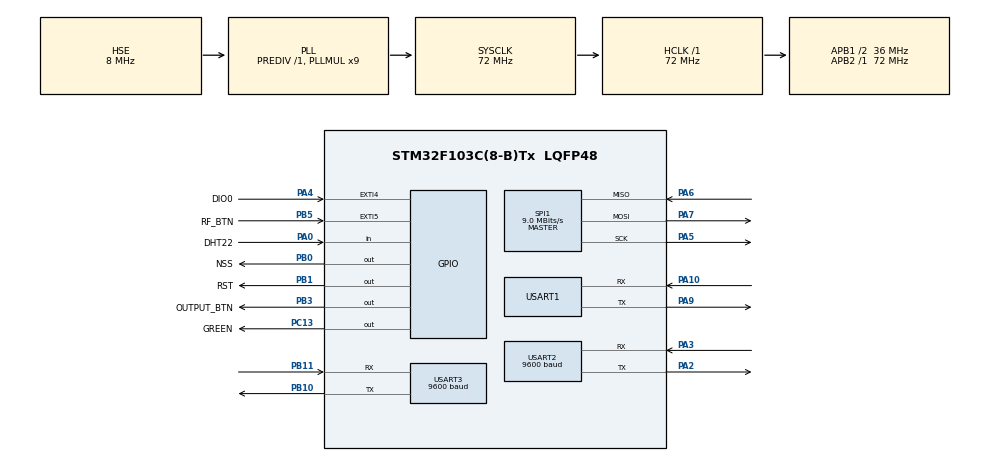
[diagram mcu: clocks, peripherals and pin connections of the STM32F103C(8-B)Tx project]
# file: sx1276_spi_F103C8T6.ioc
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FREERTOS.Tasks01=LED,0,128,LEDTask,Default,NULL,Dynamic,NULL,NULL;myTask02,-3,128,StartTask02,Default,NULL,Dynamic,NULL,NULL;myTask03,-3,128,StartTask03,Default,NULL,Dynamic,NULL,NULL
FREERTOS.configTOTAL_HEAP_SIZE=14*1024
FREERTOS.configUSE_NEWLIB_REENTRANT=1
Mcu.Family=STM32F1
Mcu.Name=STM32F103C(8-B)Tx
Mcu.Package=LQFP48
NVIC.EXTI4_IRQn=true\:5\:0\:false\:false\:true\:true\:true\:true\:true
NVIC.EXTI9_5_IRQn=true\:5\:0\:false\:false\:true\:true\:true\:true\:true
NVIC.PriorityGroup=NVIC_PRIORITYGROUP_4
NVIC.TIM1_UP_IRQn=true\:5\:0\:false\:false\:true\:true\:true\:true\:true
NVIC.TIM3_IRQn=true\:15\:0\:false\:false\:true\:false\:false\:true\:true
NVIC.TimeBase=TIM3_IRQn
NVIC.TimeBaseIP=TIM3
NVIC.USART2_IRQn=true\:5\:0\:false\:false\:true\:true\:true\:true\:true
NVIC.USART3_IRQn=true\:5\:0\:false\:false\:true\:true\:true\:true\:true
PA0-WKUP.GPIO_Label=DHT22
PA0-WKUP.Signal=GPIO_Input
PA10.Mode=Asynchronous
PA10.Signal=USART1_RX
PA13.Mode=Serial_Wire
PA13.Signal=SYS_JTMS-SWDIO
PA14.Mode=Serial_Wire
PA14.Signal=SYS_JTCK-SWCLK
PA2.Mode=Asynchronous
PA2.Signal=USART2_TX
PA3.Mode=Asynchronous
PA3.Signal=USART2_RX
PA4.GPIO_Label=DIO0
PA4.Signal=GPXTI4
PA5.Mode=Full_Duplex_Master
PA5.Signal=SPI1_SCK
PA6.Mode=Full_Duplex_Master
PA6.Signal=SPI1_MISO
PA7.Mode=Full_Duplex_Master
PA7.Signal=SPI1_MOSI
PA9.Mode=Asynchronous
PA9.Signal=USART1_TX
PB0.GPIO_Label=NSS
PB0.PinState=GPIO_PIN_SET
PB0.Signal=GPIO_Output
PB1.GPIO_Label=RST
PB1.PinState=GPIO_PIN_SET
PB1.Signal=GPIO_Output
PB10.Mode=Asynchronous
PB10.Signal=USART3_TX
PB11.Mode=Asynchronous
PB11.Signal=USART3_RX
PB3.GPIO_Label=OUTPUT_BTN
PB3.Signal=GPIO_Output
PB5.GPIO_Label=RF_BTN
PB5.GPIO_ModeDefaultEXTI=GPIO_MODE_IT_FALLING
PB5.GPIO_PuPd=GPIO_PULLUP
PB5.Signal=GPXTI5
PC13-TAMPER-RTC.GPIO_Label=GREEN
PC13-TAMPER-RTC.Signal=GPIO_Output
PC14-OSC32_IN.Mode=LSE-External-Oscillator
PC14-OSC32_IN.Signal=RCC_OSC32_IN
PC15-OSC32_OUT.Mode=LSE-External-Oscillator
PC15-OSC32_OUT.Signal=RCC_OSC32_OUT
PD0-OSC_IN.Mode=HSE-External-Oscillator
PD0-OSC_IN.Signal=RCC_OSC_IN
PD1-OSC_OUT.Mode=HSE-External-Oscillator
PD1-OSC_OUT.Signal=RCC_OSC_OUT
ProjectManager.HeapSize=0x200
ProjectManager.StackSize=0x400
ProjectManager.TargetToolchain=STM32CubeIDE
RCC.AHBFreq_Value=72000000
RCC.APB1CLKDivider=RCC_HCLK_DIV2
RCC.APB1Freq_Value=36000000
RCC.APB1TimFreq_Value=72000000
RCC.APB2Freq_Value=72000000
RCC.APB2TimFreq_Value=72000000
RCC.HCLKFreq_Value=72000000
RCC.PLLMUL=RCC_PLL_MUL9
RCC.PLLSourceVirtual=RCC_PLLSOURCE_HSE
RCC.SYSCLKFreq_VALUE=72000000
RCC.SYSCLKSource=RCC_SYSCLKSOURCE_PLLCLK
RCC.USBFreq_Value=72000000
SPI1.BaudRatePrescaler=SPI_BAUDRATEPRESCALER_8
SPI1.CalculateBaudRate=9.0 MBits/s
SPI1.Direction=SPI_DIRECTION_2LINES
SPI1.Mode=SPI_MODE_MASTER
SPI1.VirtualType=VM_MASTER
TIM1.Period=8000-1
TIM1.Prescaler=36000-1
TIM1.TIM_MasterOutputTrigger=TIM_TRGO_UPDATE
TIM4.Period=0xffff-1
TIM4.Prescaler=72-1
USART1.VirtualMode=VM_ASYNC
USART2.BaudRate=9600
USART2.VirtualMode=VM_ASYNC
USART3.BaudRate=9600
USART3.VirtualMode=VM_ASYNC
VP_FREERTOS_VS_CMSIS_V1.Mode=CMSIS_V1
VP_SYS_VS_tim3.Mode=TIM3
VP_TIM1_VS_ClockSourceINT.Mode=Internal
VP_TIM4_VS_ClockSourceINT.Mode=Internal
board=custom

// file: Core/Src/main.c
/* USER CODE BEGIN Header */
/**
  ******************************************************************************
  * @file           : main.c
  * @brief          : Main program body
  ******************************************************************************
  * @attention
  *
  * Copyright (c) 2023 STMicroelectronics.
  * All rights reserved.
  *
  * This software is licensed under terms that can be found in the LICENSE file
  * in the root directory of this software component.
  * If no LICENSE file comes with this software, it is provided AS-IS.
  *
  ******************************************************************************
  */
/* USER CODE END Header */
#include "main.h"
#include "cmsis_os.h"

/* USER CODE BEGIN Includes */
#include <string.h>
#include <stdio.h>
#include "LoRa.h"
#include "DHT22.h"
#include "NMEA.h"
#include "uartRingBuffer.h"

#include "FreeRTOS.h"
#include "task.h"
#include "timers.h"
#include "queue.h"
#include "semphr.h"
/* USER CODE END Includes */

/* USER CODE BEGIN PD */
#define SET_FREQUENCY 	0
#define GET_FREQUENCY 	1
#define SET_BANDWIDTH	2
#define GET_BANDWIDTH 	3
#define SET_PCKT_STR 	4
#define GET_PCKT_STR 	5
#define GET_TEMP 		6
#define GET_RH		 	7
#define GET_LOCATION	8
#define GET_TIME		9
#define UNKNOWN			255
/* USER CODE END PD */

SPI_HandleTypeDef hspi1;

TIM_HandleTypeDef htim1;
TIM_HandleTypeDef htim4;

UART_HandleTypeDef huart1;
UART_HandleTypeDef huart2;
UART_HandleTypeDef huart3;

osThreadId LEDHandle;
osThreadId myTask02Handle;
osThreadId myTask03Handle;
/* USER CODE BEGIN PV */
TaskHandle_t processCmdTaskHandler = NULL;
TaskHandle_t rxCmdTaskHandler = NULL;
QueueHandle_t cmdQueue;
QueueHandle_t rxcmdQueue;
xSemaphoreHandle DHT_Sem;
xSemaphoreHandle LoRa_Sem;
//--------LoRa--------
LoRa myLoRa;
uint16_t LoRa_stat;
uint8_t TxBuffer[24];
char message[50];
char pckt_str[50];
char pckt_buffer[2];

//-------Environment--------
float Temperature = 0;
float Humidity = 0;

//--------GPSR--------
char GGA[100];
char RMC[100];
GPSSTRUCT gpsData;
char lcdBuffer[50];
int VCCTimeout;
int flagGGA, flagRMC; // if you set this variable (1->0 and 2->1), it will crash.
float fix_latitude, fix_longitude;
float lat_afterPoint, lon_afterPoint;

//------BlueTooth------
typedef struct
{
	uint32_t temp;
	uint16_t cmd;
	uint32_t param;
}rxCmd;
uint8_t rx_data, flag;
rxCmd myrxCmd;

//------RTC------
//RTC_TimeTypeDef gTime;
//RTC_DateTypeDef gDate;

/* USER CODE END PV */

void SystemClock_Config(void);
static void MX_GPIO_Init(void);
static void MX_SPI1_Init(void);
static void MX_USART1_UART_Init(void);
static void MX_TIM1_Init(void);
static void MX_TIM4_Init(void);
static void MX_USART2_UART_Init(void);
static void MX_USART3_UART_Init(void);
void LEDTask(void const * argument);
void StartTask02(void const * argument);
void StartTask03(void const * argument);

/* USER CODE BEGIN 0 */
void float2Bytes(float val,uint8_t* bytes_array);
void menuDisplay();
void LORA_Task(void* pvParameter);
void DHT22_Task(void* pvParameter);
void GPSR_Task(void* pvParameter);
void BLE_Task(void* pvParameter);
void processCmdTask(void* pvParameter);
void rxCmdTask(void* pvParameter);

void HAL_UART_RxCpltCallback(UART_HandleTypeDef* huart)
{
	if(huart->Instance == USART3)
	{
		switch(rx_data)
		{
		case ' ':
			myrxCmd.cmd = myrxCmd.temp;
			myrxCmd.temp = 0;
			flag = 1;
			break;
		case '\n':
			if(flag)
				myrxCmd.param = myrxCmd.temp;
			else
				myrxCmd.cmd = myrxCmd.temp;
			myrxCmd.temp = 0;
			flag = 0;
			BaseType_t xHigherPriorityTaskWoken = pdFALSE;
			// notify cmd handling tasks
			xQueueSendFromISR(rxcmdQueue, &myrxCmd, &xHigherPriorityTaskWoken);
			break;
		default:
			myrxCmd.temp=10*myrxCmd.temp + rx_data - 0x30;
		}

	}

}

void HAL_GPIO_EXTI_Callback(uint16_t GPIO_Pin)
{
  if(GPIO_Pin==RF_BTN_Pin)
  {
		for(int i = 0;i<3;i++){ delay(60000);}

		if(HAL_GPIO_ReadPin(RF_BTN_GPIO_Port, RF_BTN_Pin) == GPIO_PIN_RESET){
			HAL_GPIO_WritePin(OUTPUT_BTN_GPIO_Port, OUTPUT_BTN_Pin, GPIO_PIN_SET);
			sprintf(message, "Button Interrupt\r\n");
			HAL_UART_Transmit(&huart1, (uint8_t*)message, strlen(message), 0xffff);
			memset(message, '\0', strlen((char*)message));
			BaseType_t xHigherPriorityTaskWoken = pdFALSE;
			xSemaphoreGiveFromISR (LoRa_Sem, &xHigherPriorityTaskWoken);
			portEND_SWITCHING_ISR(xHigherPriorityTaskWoken);
		}

  }

}

void rxCmdTask(void* pvParameter)
{
	char *info;
	rxCmd currentCmd;
	while(1)
	{
		// block until notification
		if(xQueueReceive(rxcmdQueue, &currentCmd, portMAX_DELAY ) == pdPASS){
			// critical section
			taskENTER_CRITICAL();

			// get command code
			switch(currentCmd.cmd)
			{
			case SET_FREQUENCY:
				info = pvPortMalloc(100*sizeof(char));
				sprintf(info, "Set SX-1276 frequency: %d\r\n", (int)currentCmd.param);
				HAL_UART_Transmit(&huart3, (uint8_t *)info, strlen(info), 0xffff);
				vPortFree(info);
				myLoRa.frequency = currentCmd.param;
				LoRa_setFrequency(&myLoRa, myLoRa.frequency);
				break;
			case GET_FREQUENCY:
				info = pvPortMalloc(100*sizeof(char));
				sprintf(info, "Get current frequency: %d\r\n", myLoRa.frequency);
				HAL_UART_Transmit(&huart3, (uint8_t *)info, strlen(info), 0xffff);
				vPortFree(info);
				break;
			case SET_BANDWIDTH:
				break;
			case GET_BANDWIDTH:
				info = pvPortMalloc(100*sizeof(char));
				sprintf(info, "Get current bandwidth: %d\r\n", myLoRa.bandWidth);
				HAL_UART_Transmit(&huart3, (uint8_t *)info, strlen(info), 0xffff);
				vPortFree(info);
				break;
			case SET_PCKT_STR:
				break;
			case GET_PCKT_STR:
				break;
			case GET_TEMP:
				info = pvPortMalloc(100*sizeof(char));
				sprintf(info, "Get temperature (celsius): %f C\r\n", Temperature);
				HAL_UART_Transmit(&huart3, (uint8_t *)info, strlen(info), 0xffff);
				vPortFree(info);
				break;
			case GET_RH:
				info = pvPortMalloc(100*sizeof(char));
				sprintf(info, "Get humidity (%%): %f %% \r\n", Humidity);
				HAL_UART_Transmit(&huart3, (uint8_t *)info, strlen(info), 0xffff);
				vPortFree(info);
				break;
			default:
				menuDisplay();
			}

			// re-enable interrupts
			taskEXIT_CRITICAL();
		}
	}
}

void menuDisplay()
{
	HAL_UART_Transmit(&huart3, (uint8_t *)"==== CMD_HELPER ====\r\n", 40, 0xffff);
	HAL_UART_Transmit(&huart3, (uint8_t *)"Set frequency (kHz)--------> 0\r\n", 40, 0xffff);
	HAL_UART_Transmit(&huart3, (uint8_t *)"Get frequency (kHz)--------> 1\r\n", 40, 0xffff);
	HAL_UART_Transmit(&huart3, (uint8_t *)"Set bandwidth (kHz)--------> 2\r\n", 40, 0xffff);
	HAL_UART_Transmit(&huart3, (uint8_t *)"Get bandwidth (kHz)--------> 3\r\n", 40, 0xffff);
	HAL_UART_Transmit(&huart3, (uint8_t *)"Set string content (str)---> 4\r\n", 40, 0xffff);
	HAL_UART_Transmit(&huart3, (uint8_t *)"Get current content (HEX)--> 5\r\n", 40, 0xffff);
	HAL_UART_Transmit(&huart3, (uint8_t *)"Get temperature (celsius)--> 6\r\n", 40, 0xffff);
	HAL_UART_Transmit(&huart3, (uint8_t *)"Get humidity (%%)-----------> 7\r\n", 40, 0xffff);
	HAL_UART_Transmit(&huart3, (uint8_t *)"Get location (lat, lon)----> 8\r\n", 40, 0xffff);
	HAL_UART_Transmit(&huart3, (uint8_t *)"Get time (MM/DD/YYYY)------> 9\r\n", 40, 0xffff);
}

void float2Bytes(float val,uint8_t* bytes_array){
  // Create union of shared memory space
  union {
    float float_variable;
    uint8_t temp_array[4];
  } u;
  // Overwrite bytes of union with float variable
  u.float_variable = val;
  // Assign bytes to input array
  memcpy(bytes_array, u.temp_array, 4);
}

void LORA_Task(void* pvParameter){

	while(1){
		if(xSemaphoreTake(LoRa_Sem, 9700) != pdTRUE){
			char *info = pvPortMalloc(50*sizeof(char));
			sprintf(info, "Unable to acquire LoRa semaphore !!!\r\n");
			HAL_UART_Transmit(&huart1, (uint8_t*)info, strlen(info), 0xffff);
			vPortFree(info);
		}
		else{
			char *info = pvPortMalloc(50*sizeof(char));
			sprintf(info, "Button push\r\n");
			HAL_UART_Transmit(&huart1, (uint8_t*)info, strlen(info), 0xffff);
			vPortFree(info);
//			TxBuffer[0] = 0x02; // mobile mode
//			TxBuffer[1] = 0x01; // ID
//			TxBuffer[2] = 0x21; // Data Type:

//			TxBuffer[3] = 0x00;	// 3-6 Time
//			TxBuffer[4] = gTime.Hours;
//			TxBuffer[5] = gTime.Minutes;
//			TxBuffer[6] = gTime.Seconds;
//			float2Bytes(Temperature, &TxBuffer[7]); // 7-14 Sensor Data
//			float2Bytes(Humidity, &TxBuffer[11]);
//			float2Bytes(fix_latitude, &TxBuffer[15]); // 15-22 GPS position Data
//			float2Bytes(fix_longitude, &TxBuffer[19]);

//			TxBuffer[23] = 0x00;// 23 Checksum
//			for(int i = 0;i < 23; i++){
//				TxBuffer[23] = TxBuffer[23] + TxBuffer[i];
//			}

			// make packet string, fail to make the string to show. I think the reason is
			// that strcat function is not compatible to FreeRTOS or HAL_UART..
	//		memset(pckt_str, NULL, strlen(pckt_str));
	//		for(int i = 0;i < 24; i++)
	//		{
	//			if (TxBuffer[i] < 16) strcat(pckt_str, "0");
	//			strcat(pckt_str, itoa(TxBuffer[i], pckt_buffer, 16));
	//			strcat(pckt_str, " ");
	//		}
			sprintf((char*)TxBuffer, "HelloHelloHello");
			HAL_GPIO_WritePin(GREEN_GPIO_Port, GREEN_Pin, GPIO_PIN_RESET);	//PC13 High
			LoRa_transmit(&myLoRa, TxBuffer, 24, 2500);
			info = pvPortMalloc(100*sizeof(char));
			sprintf(info, "Packet size: %d ,Send packet.. \r\n", sizeof(TxBuffer)/sizeof(TxBuffer[0]));
			HAL_UART_Transmit(&huart1, (uint8_t *)info, strlen(info), 0xffff);
			vPortFree(info);
			HAL_GPIO_WritePin(GREEN_GPIO_Port, GREEN_Pin, GPIO_PIN_SET);	//PC13 Low

//			HAL_RTC_GetTime(&hrtc, &gTime, RTC_FORMAT_BIN);
//			HAL_RTC_GetDate(&hrtc, &gDate, RTC_FORMAT_BIN);
//
//			info = pvPortMalloc(50*sizeof(char));
//			sprintf(info,"RTC time: %02d:%02d:%02d \r\n", gTime.Hours, gTime.Minutes, gTime.Seconds);
//			HAL_UART_Transmit(&huart1, (uint8_t *)info, strlen(info), 0xffff);
//			vPortFree(info);
//
//			info = pvPortMalloc(50*sizeof(char));
//			sprintf(info,"RTC date: %02d-%02d-%04d \r\n", gDate.Month, gDate.Date, 2000+gDate.Year);
//			HAL_UART_Transmit(&huart1, (uint8_t *)info, strlen(info), 0xffff);
//			vPortFree(info);

			vTaskDelay(500);
			HAL_GPIO_WritePin(OUTPUT_BTN_GPIO_Port, OUTPUT_BTN_Pin, GPIO_PIN_RESET);
		}

	}
}
void DHT22_Task(void* pvParameter){
	int index = 1;
	while(1){
		if(xSemaphoreTake(DHT_Sem, 4500) != pdTRUE){
			HAL_UART_Transmit(&huart1, (uint8_t*)"Unable to acquire DHT semaphore\r\n", 35, 100);
		}
		else{
			if(DHT22_Get_Data(&Temperature, &Humidity) == 1){
				char *info = pvPortMalloc(50*sizeof(char));
				sprintf (info, "%d. Temp = %.2f C\t RH = %.2f%% \r\n",index++, Temperature, Humidity);
				HAL_UART_Transmit(&huart1, (uint8_t *)info, strlen(info), 0xffff);
				vPortFree(info);
			}
		}
	}
}

void GPSR_Task(void* pvParameter){
	while(1){
		if (Wait_for("GGA") == 1){

			VCCTimeout = 5000; // Reset the VCC Timeout indicating the GGA is being received

			Copy_upto("*", GGA);
			if(decodeGGA(GGA, &gpsData.ggastruct) == 0) flagGGA = 2; // 2 indicates the data is valid
			else flagGGA = 1;
		}
		if (Wait_for("RMC") == 1){

			VCCTimeout = 5000; // Reset the VCC Timeout indicating the RMC is being received

			Copy_upto("*", RMC);
			if(decodeRMC(RMC, &gpsData.rmcstruct) == 0) flagRMC = 2; // 2 indicates the data is valid
			else flagRMC = 1;
		}
		if ((flagGGA = 2) | (flagRMC = 2)){
			// print the time format
			sprintf(lcdBuffer, "%02d:%02d:%02d, %02d-%02d-%04d\r\n", gpsData.ggastruct.tim.hour, \
				  gpsData.ggastruct.tim.min, gpsData.ggastruct.tim.sec, gpsData.rmcstruct.date.Mon, \
				  gpsData.rmcstruct.date.Day, 2000 + gpsData.rmcstruct.date.Yr);
			HAL_UART_Transmit(&huart1, (uint8_t *)lcdBuffer, strlen(lcdBuffer), 0xffff);
			memset(lcdBuffer, '\0', strlen(lcdBuffer));
			// Convert to google map format
			lat_afterPoint = gpsData.ggastruct.lcation.latitude - (int)(gpsData.ggastruct.lcation.latitude);
			fix_latitude = (int)(gpsData.ggastruct.lcation.latitude) + lat_afterPoint/60*100;
			lon_afterPoint = gpsData.ggastruct.lcation.longitude - (int)(gpsData.ggastruct.lcation.longitude);
			fix_longitude = (int)(gpsData.ggastruct.lcation.longitude) + lon_afterPoint/60*100;
			// print the location format
			sprintf(lcdBuffer, "LAT: %.4f%c, LON: %.4f%c\r\n", fix_latitude, \
				  gpsData.ggastruct.lcation.NS, fix_longitude, gpsData.ggastruct.lcation.EW);
			HAL_UART_Transmit(&huart1, (uint8_t *)lcdBuffer, strlen(lcdBuffer), 0xffff);
			memset(lcdBuffer, '\0', strlen(lcdBuffer));
			// Correct the RTC time
		}
		else if((flagGGA = 1) | (flagRMC = 1)){
			HAL_UART_Transmit(&huart1, (uint8_t *)"NO FIX YET !!\r\n", 20, 0xffff);
		}
		if (VCCTimeout <= 0){
			VCCTimeout = 5000;  // Reset the timeout

			//reset flags
			flagGGA =flagRMC =0;

			// You are here means the VCC is less, or maybe there is some connection issue
			// Check the VCC, also you can try connecting to the external 5V
			HAL_UART_Transmit(&huart1, (uint8_t *)"VCC Issue, Check Connection\r\n", 20, 0xffff);
		}
		vTaskDelay(4000);
	}
}

/* USER CODE END 0 */

int main(void)
{

  /* MCU Configuration--------------------------------------------------------*/

  /* Reset of all peripherals, Initializes the Flash interface and the Systick. */
  HAL_Init();

  /* Configure the system clock */
  SystemClock_Config();

  /* Initialize all configured peripherals */
  MX_GPIO_Init();
  MX_SPI1_Init();
  MX_USART1_UART_Init();
  MX_TIM1_Init();
  MX_TIM4_Init();
  MX_USART2_UART_Init();
  MX_USART3_UART_Init();
  /* USER CODE BEGIN 2 */
	// --LoRa initialization--
	myLoRa = newLoRa();

	myLoRa.CS_port         = NSS_GPIO_Port;
	myLoRa.CS_pin          = NSS_Pin;
	myLoRa.reset_port      = RST_GPIO_Port;
	myLoRa.reset_pin       = RST_Pin;
	myLoRa.DIO0_port       = DIO0_GPIO_Port;
	myLoRa.DIO0_pin        = DIO0_Pin;
	myLoRa.hSPIx           = &hspi1;

	myLoRa.frequency             = 923400;          // default = 433 MHz
	myLoRa.spredingFactor        = SF_10;           	// default = SF_7
	myLoRa.bandWidth             = BW_125KHz;       // default = BW_125KHz
	myLoRa.crcRate               = CR_4_5;          // default = CR_4_5
	myLoRa.power                 = POWER_20db;      // default = 20db
	myLoRa.overCurrentProtection = 130;             // default = 100 mA
	//myLoRa.preamble = 10;

	uint16_t LoRa_status = LoRa_init(&myLoRa);
	sprintf(message, "LoRa initialization ..");
	HAL_UART_Transmit(&huart1, (uint8_t *)message, strlen(message), 0xffff);
	memset(message, '\0', strlen(message));
	if(LoRa_status == LORA_OK){
	  sprintf(message, " success !\r\n");
	  HAL_UART_Transmit(&huart1, (uint8_t *)message, strlen(message), 0xffff);
	  memset(message, '\0', strlen(message));
	}

	LoRa_setSyncWord(&myLoRa, 0x34); // default: 0x12

	// --DS1307 initialization--
//	if(ds1307_init(&hi2c1)){
//		sprintf(message, "DS1307 initialization .. fail !\r\n");
//		HAL_UART_Transmit(&huart1, (uint8_t *)message, strlen(message), 0xffff);
//		memset(message, NULL, strlen(message));
//		while(1);
//	}
//	sprintf(message, "DS1307 initialization .. success !\r\n");
//	HAL_UART_Transmit(&huart1, (uint8_t *)message, strlen(message), 0xffff);
//	memset(message, NULL, strlen(message));
//	mytime.seconds = 0;
//	mytime.minutes = 0;
//	mytime.hours = 0;
//	ds1307_set_current_time(&mytime);

	// --GPSR--
	Ringbuf_init();

	DHT_Sem = xSemaphoreCreateBinary();
	LoRa_Sem = xSemaphoreCreateBinary();

	cmdQueue = xQueueCreate(5, sizeof(uint8_t));
	rxcmdQueue = xQueueCreate(5, sizeof(rxCmd));

	xTaskCreate(LORA_Task, "LORA", 1024, NULL, 2, NULL);
	xTaskCreate(DHT22_Task, "DHT22", 256, NULL, 3, NULL);
	xTaskCreate(GPSR_Task, "GPSR", 256, NULL, 2, NULL);
	xTaskCreate(rxCmdTask, "RX", 1024, NULL, 4, &rxCmdTaskHandler);

	HAL_TIM_Base_Start(&htim4);
	HAL_TIM_Base_Start_IT(&htim1);

	__HAL_UART_ENABLE_IT(&huart3,UART_IT_RXNE);
//	HAL_UART_Receive_IT(&huart3, &rx_data, 1);

	vTaskStartScheduler();
  /* USER CODE END 2 */

  /* Create the thread(s) */
  /* definition and creation of LED */

  /* We should never get here as control is now taken by the scheduler */
  /* Infinite loop */
  while (1)
  {

  }
}

void SystemClock_Config(void)
{
  RCC_OscInitTypeDef RCC_OscInitStruct = {0};
  RCC_ClkInitTypeDef RCC_ClkInitStruct = {0};

  /** Initializes the RCC Oscillators according to the specified parameters
  * in the RCC_OscInitTypeDef structure.
  */
  RCC_OscInitStruct.OscillatorType = RCC_OSCILLATORTYPE_HSE;
  RCC_OscInitStruct.HSEState = RCC_HSE_ON;
  RCC_OscInitStruct.HSEPredivValue = RCC_HSE_PREDIV_DIV1;
  RCC_OscInitStruct.HSIState = RCC_HSI_ON;
  RCC_OscInitStruct.PLL.PLLState = RCC_PLL_ON;
  RCC_OscInitStruct.PLL.PLLSource = RCC_PLLSOURCE_HSE;
  RCC_OscInitStruct.PLL.PLLMUL = RCC_PLL_MUL9;
  if (HAL_RCC_OscConfig(&RCC_OscInitStruct) != HAL_OK)
  {
    Error_Handler();
  }

  /** Initializes the CPU, AHB and APB buses clocks
  */
  RCC_ClkInitStruct.ClockType = RCC_CLOCKTYPE_HCLK|RCC_CLOCKTYPE_SYSCLK
                              |RCC_CLOCKTYPE_PCLK1|RCC_CLOCKTYPE_PCLK2;
  RCC_ClkInitStruct.SYSCLKSource = RCC_SYSCLKSOURCE_PLLCLK;
  RCC_ClkInitStruct.AHBCLKDivider = RCC_SYSCLK_DIV1;
  RCC_ClkInitStruct.APB1CLKDivider = RCC_HCLK_DIV2;
  RCC_ClkInitStruct.APB2CLKDivider = RCC_HCLK_DIV1;

  if (HAL_RCC_ClockConfig(&RCC_ClkInitStruct, FLASH_LATENCY_2) != HAL_OK)
  {
    Error_Handler();
  }
}

static void MX_SPI1_Init(void)
{

  /* SPI1 parameter configuration*/
  hspi1.Instance = SPI1;
  hspi1.Init.Mode = SPI_MODE_MASTER;
  hspi1.Init.Direction = SPI_DIRECTION_2LINES;
  hspi1.Init.DataSize = SPI_DATASIZE_8BIT;
  hspi1.Init.CLKPolarity = SPI_POLARITY_LOW;
  hspi1.Init.CLKPhase = SPI_PHASE_1EDGE;
  hspi1.Init.NSS = SPI_NSS_SOFT;
  hspi1.Init.BaudRatePrescaler = SPI_BAUDRATEPRESCALER_8;
  hspi1.Init.FirstBit = SPI_FIRSTBIT_MSB;
  hspi1.Init.TIMode = SPI_TIMODE_DISABLE;
  hspi1.Init.CRCCalculation = SPI_CRCCALCULATION_DISABLE;
  hspi1.Init.CRCPolynomial = 10;
  if (HAL_SPI_Init(&hspi1) != HAL_OK)
  {
    Error_Handler();
  }

}

static void MX_TIM1_Init(void)
{

  TIM_ClockConfigTypeDef sClockSourceConfig = {0};
  TIM_MasterConfigTypeDef sMasterConfig = {0};

  htim1.Instance = TIM1;
  htim1.Init.Prescaler = 36000-1;
  htim1.Init.CounterMode = TIM_COUNTERMODE_UP;
  htim1.Init.Period = 8000-1;
  htim1.Init.ClockDivision = TIM_CLOCKDIVISION_DIV1;
  htim1.Init.RepetitionCounter = 0;
  htim1.Init.AutoReloadPreload = TIM_AUTORELOAD_PRELOAD_DISABLE;
  if (HAL_TIM_Base_Init(&htim1) != HAL_OK)
  {
    Error_Handler();
  }
  sClockSourceConfig.ClockSource = TIM_CLOCKSOURCE_INTERNAL;
  if (HAL_TIM_ConfigClockSource(&htim1, &sClockSourceConfig) != HAL_OK)
  {
    Error_Handler();
  }
  sMasterConfig.MasterOutputTrigger = TIM_TRGO_UPDATE;
  sMasterConfig.MasterSlaveMode = TIM_MASTERSLAVEMODE_DISABLE;
  if (HAL_TIMEx_MasterConfigSynchronization(&htim1, &sMasterConfig) != HAL_OK)
  {
    Error_Handler();
  }

}

static void MX_TIM4_Init(void)
{

  TIM_ClockConfigTypeDef sClockSourceConfig = {0};
  TIM_MasterConfigTypeDef sMasterConfig = {0};

  htim4.Instance = TIM4;
  htim4.Init.Prescaler = 72-1;
  htim4.Init.CounterMode = TIM_COUNTERMODE_UP;
  htim4.Init.Period = 0xffff-1;
  htim4.Init.ClockDivision = TIM_CLOCKDIVISION_DIV1;
  htim4.Init.AutoReloadPreload = TIM_AUTORELOAD_PRELOAD_DISABLE;
  if (HAL_TIM_Base_Init(&htim4) != HAL_OK)
  {
    Error_Handler();
  }
  sClockSourceConfig.ClockSource = TIM_CLOCKSOURCE_INTERNAL;
  if (HAL_TIM_ConfigClockSource(&htim4, &sClockSourceConfig) != HAL_OK)
  {
    Error_Handler();
  }
  sMasterConfig.MasterOutputTrigger = TIM_TRGO_RESET;
  sMasterConfig.MasterSlaveMode = TIM_MASTERSLAVEMODE_DISABLE;
  if (HAL_TIMEx_MasterConfigSynchronization(&htim4, &sMasterConfig) != HAL_OK)
  {
    Error_Handler();
  }

}

static void MX_USART1_UART_Init(void)
{

  huart1.Instance = USART1;
  huart1.Init.BaudRate = 115200;
  huart1.Init.WordLength = UART_WORDLENGTH_8B;
  huart1.Init.StopBits = UART_STOPBITS_1;
  huart1.Init.Parity = UART_PARITY_NONE;
  huart1.Init.Mode = UART_MODE_TX_RX;
  huart1.Init.HwFlowCtl = UART_HWCONTROL_NONE;
  huart1.Init.OverSampling = UART_OVERSAMPLING_16;
  if (HAL_UART_Init(&huart1) != HAL_OK)
  {
    Error_Handler();
  }

}

static void MX_USART2_UART_Init(void)
{

  huart2.Instance = USART2;
  huart2.Init.BaudRate = 9600;
  huart2.Init.WordLength = UART_WORDLENGTH_8B;
  huart2.Init.StopBits = UART_STOPBITS_1;
  huart2.Init.Parity = UART_PARITY_NONE;
  huart2.Init.Mode = UART_MODE_TX_RX;
  huart2.Init.HwFlowCtl = UART_HWCONTROL_NONE;
  huart2.Init.OverSampling = UART_OVERSAMPLING_16;
  if (HAL_UART_Init(&huart2) != HAL_OK)
  {
    Error_Handler();
  }

}

static void MX_USART3_UART_Init(void)
{

  huart3.Instance = USART3;
  huart3.Init.BaudRate = 9600;
  huart3.Init.WordLength = UART_WORDLENGTH_8B;
  huart3.Init.StopBits = UART_STOPBITS_1;
  huart3.Init.Parity = UART_PARITY_NONE;
  huart3.Init.Mode = UART_MODE_TX_RX;
  huart3.Init.HwFlowCtl = UART_HWCONTROL_NONE;
  huart3.Init.OverSampling = UART_OVERSAMPLING_16;
  if (HAL_UART_Init(&huart3) != HAL_OK)
  {
    Error_Handler();
  }

}

static void MX_GPIO_Init(void)
{
  GPIO_InitTypeDef GPIO_InitStruct = {0};

  /* GPIO Ports Clock Enable */
  __HAL_RCC_GPIOC_CLK_ENABLE();
  __HAL_RCC_GPIOD_CLK_ENABLE();
  __HAL_RCC_GPIOA_CLK_ENABLE();
  __HAL_RCC_GPIOB_CLK_ENABLE();

  /*Configure GPIO pin Output Level */
  HAL_GPIO_WritePin(GREEN_GPIO_Port, GREEN_Pin, GPIO_PIN_RESET);

  /*Configure GPIO pin Output Level */
  HAL_GPIO_WritePin(GPIOB, NSS_Pin|RST_Pin, GPIO_PIN_SET);

  /*Configure GPIO pin Output Level */
  HAL_GPIO_WritePin(OUTPUT_BTN_GPIO_Port, OUTPUT_BTN_Pin, GPIO_PIN_RESET);

  /*Configure GPIO pin : GREEN_Pin */
  GPIO_InitStruct.Pin = GREEN_Pin;
  GPIO_InitStruct.Mode = GPIO_MODE_OUTPUT_PP;
  GPIO_InitStruct.Pull = GPIO_NOPULL;
  GPIO_InitStruct.Speed = GPIO_SPEED_FREQ_LOW;
  HAL_GPIO_Init(GREEN_GPIO_Port, &GPIO_InitStruct);

  /*Configure GPIO pin : DHT22_Pin */
  GPIO_InitStruct.Pin = DHT22_Pin;
  GPIO_InitStruct.Mode = GPIO_MODE_INPUT;
  GPIO_InitStruct.Pull = GPIO_NOPULL;
  HAL_GPIO_Init(DHT22_GPIO_Port, &GPIO_InitStruct);

  /*Configure GPIO pin : DIO0_Pin */
  GPIO_InitStruct.Pin = DIO0_Pin;
  GPIO_InitStruct.Mode = GPIO_MODE_IT_RISING;
  GPIO_InitStruct.Pull = GPIO_NOPULL;
  HAL_GPIO_Init(DIO0_GPIO_Port, &GPIO_InitStruct);

  /*Configure GPIO pins : NSS_Pin RST_Pin OUTPUT_BTN_Pin */
  GPIO_InitStruct.Pin = NSS_Pin|RST_Pin|OUTPUT_BTN_Pin;
  GPIO_InitStruct.Mode = GPIO_MODE_OUTPUT_PP;
  GPIO_InitStruct.Pull = GPIO_NOPULL;
  GPIO_InitStruct.Speed = GPIO_SPEED_FREQ_LOW;
  HAL_GPIO_Init(GPIOB, &GPIO_InitStruct);

  /*Configure GPIO pin : RF_BTN_Pin */
  GPIO_InitStruct.Pin = RF_BTN_Pin;
  GPIO_InitStruct.Mode = GPIO_MODE_IT_FALLING;
  GPIO_InitStruct.Pull = GPIO_PULLUP;
  HAL_GPIO_Init(RF_BTN_GPIO_Port, &GPIO_InitStruct);

  /* EXTI interrupt init*/
  HAL_NVIC_SetPriority(EXTI4_IRQn, 5, 0);
  HAL_NVIC_EnableIRQ(EXTI4_IRQn);

  HAL_NVIC_SetPriority(EXTI9_5_IRQn, 5, 0);
  HAL_NVIC_EnableIRQ(EXTI9_5_IRQn);

}

void LEDTask(void const * argument)
{
  for(;;)
  {
    osDelay(1);
  }
}

void StartTask02(void const * argument)
{
  for(;;)
  {
    osDelay(1);
  }
}

void StartTask03(void const * argument)
{
  for(;;)
  {
    osDelay(1);
  }
}

void HAL_TIM_PeriodElapsedCallback(TIM_HandleTypeDef *htim)
{
  /* USER CODE BEGIN Callback 0 */
	if (htim->Instance == TIM1){
		BaseType_t xHigherPriorityTaskWoken = pdFALSE;

		xSemaphoreGiveFromISR(DHT_Sem, &xHigherPriorityTaskWoken);
		portEND_SWITCHING_ISR(xHigherPriorityTaskWoken);
	}
  /* USER CODE END Callback 0 */
  if (htim->Instance == TIM3) {
    HAL_IncTick();
  }
}

void Error_Handler(void)
{
  __disable_irq();
  while (1)
  {
  }
}
